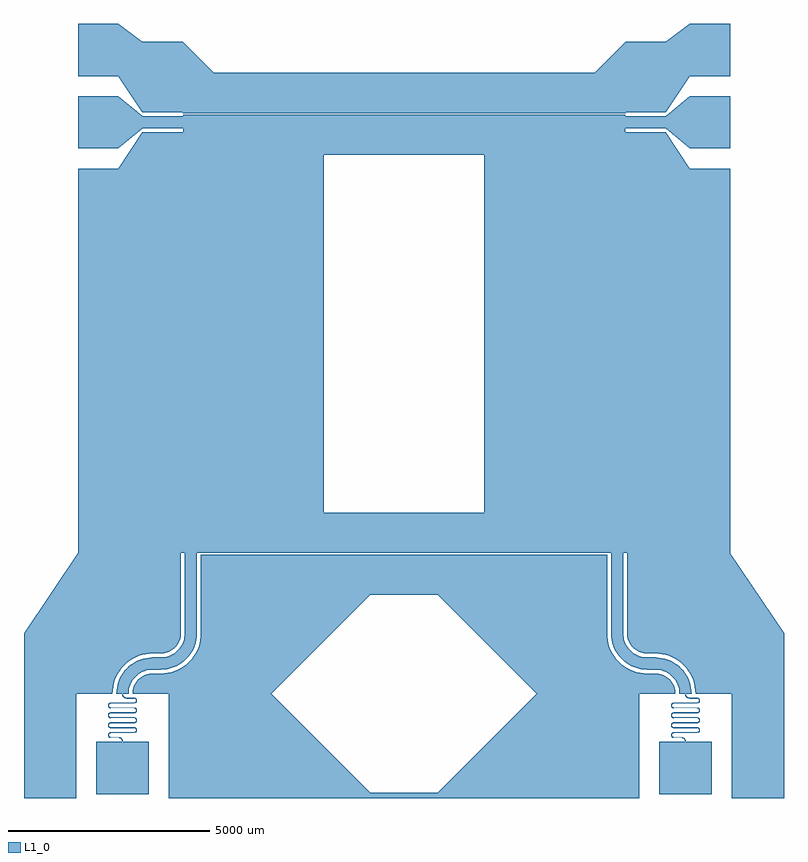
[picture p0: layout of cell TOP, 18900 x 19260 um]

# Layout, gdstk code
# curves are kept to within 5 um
import gdstk
lib = gdstk.Library(unit=1e-6, precision=1e-08)
def R(c, l, rs):  # rectangles x0, y0, x1, y1
    for r in rs: c.add(gdstk.rectangle(r[:2], r[2:], *l))
def A(c, l, x, y, w, h, nx, ny, dx, dy):  # array of equal rectangles
    R(c, l, [(x+i*dx, y+j*dy, x+i*dx+w, y+j*dy+h) for i in range(nx) for j in range(ny)])
def P(c, l, *ps):  # polygons
    for p in ps: c.add(gdstk.Polygon(p, *l))
L1_0 = (1, 0)

top = lib.new_cell('TOP')
A(top, L1_0, -2805, 10260, 1000, 1300, 1, 3, 0, 1800)
A(top, L1_0, 12410, 10260, 1000, 1300, 1, 3, 0, 1800)
R(top, L1_0, [(-4150,-4100,-2850,-1500), (-550,-4100,750,-1500), (9850,-4100,11150,-1500), (13450,-4100,14750,-1500), (-2350,-4000,-1050,-2700), (11650,-4000,12950,-2700), (-2000,0,-250,2000), (-150,0,150,2000), (250,0,2000,1960), (8600,0,10350,1960), (10450,0,10750,2000), (10850,0,12600,2000), (250,960,10350,1960), (-2805,2000,-205,11560), (-195,2000,3305,12900), (0,2000,10600,3000), (7300,2000,10800,12900), (10810,2000,13410,11560), (-1205,10710,-205,12460), (10810,10710,11810,12460), (0,11900,10600,12900), (-1200,12560,-195,12860), (10800,12560,11805,12860), (-205,12940,10810,13940), (-1205,12960,-205,14710), (10810,12960,11810,14710)])
P(top, L1_0, [(10040,13940),(10810,14710),(10810,13940)],
  [(-205,13940),(-205,14710),(565,13940)],
  [(12600,-0.02),(12600,1999.98),(13405,1999.98),(14750,-0.02)],
  [(-4150,0),(-2805,2000),(-2000,2000),(-2000,0)],
  [(750,-4100),(750,-1500),(1995,-1500),(2000,-3960),(8600,-3960),(8600,-1500),(9850,-1500),(9850,-4100)],
  [(6140,-3960),(8600,-1500),(8600,-3960)],
  [(8600,-1500),(6140,960),(8600,960)],
  [(2000,-3960),(2000,-1500),(4460,-3960)],
  [(2000,-1500),(2000,960),(4460,960)],
  [(-4150,-1500),(-4150,0),(-250,0),(-267.04,-129.41),(-316.99,-250),(-396.45,-353.55),(-500,-433.01),(-578.99,-469.85),(-663.18,-492.4),(-1037.16,-503.8),(-1208.82,-534.07),(-1372.62,-593.69),(-1450,-633.97),(-1592.79,-733.96),(-1657.11,-792.89),(-1769.15,-926.42),(-1856.31,-1077.38),(-1915.93,-1241.18),(-1934.81,-1326.35),(-1950,-1500)],
  [(12550,-1500),(12546.2,-1412.84),(12515.93,-1241.18),(12456.31,-1077.38),(12369.15,-926.42),(12257.11,-792.89),(12192.79,-733.96),(12050,-633.97),(11972.62,-593.69),(11808.82,-534.07),(11637.16,-503.8),(11263.18,-492.4),(11178.99,-469.85),(11100,-433.01),(10996.45,-353.55),(10916.99,-250),(10867.04,-129.41),(10850,0),(14750,0),(14750,-1500)],
  [(8600,-1500),(8600,0),(10350,0),(10365.19,-173.65),(10384.07,-258.82),(10443.69,-422.62),(10530.85,-573.58),(10642.89,-707.11),(10707.21,-766.04),(10776.42,-819.15),(10927.38,-906.31),(11091.18,-965.93),(11262.84,-996.19),(11636.82,-1007.6),(11721.01,-1030.15),(11800,-1066.99),(11903.55,-1146.45),(11983.01,-1250),(12032.96,-1370.59),(12050,-1500)],
  [(12150,-1500),(12129.56,-1344.71),(12069.62,-1200),(11974.26,-1075.74),(11850,-980.38),(11755.21,-936.18),(11654.19,-909.11),(11550,-900),(11271.56,-896.57),(11117.06,-869.33),(10969.64,-815.68),(10833.78,-737.24),(10771.49,-689.44),(10713.6,-636.4),(10612.76,-516.22),(10534.32,-380.36),(10480.67,-232.94),(10463.67,-156.28),(10450,0),(10750,0),(10759.12,-104.19),(10786.18,-205.21),(10858.51,-344.15),(10964.33,-459.63),(11096.43,-543.78),(11194.71,-579.55),(11297.71,-597.72),(11628.44,-603.42),(11782.94,-630.67),(11930.36,-684.32),(12066.22,-762.76),(12128.51,-810.56),(12186.4,-863.6),(12287.24,-983.78),(12365.68,-1119.64),(12419.33,-1267.06),(12436.33,-1343.72),(12450,-1500)],
  [(12290,-2700),(12288.63,-2674.37),(12277.94,-2645),(12257.85,-2621.06),(12230.78,-2605.43),(12200,-2600),(12005.51,-2599.73),(11987.35,-2595.7),(11970.85,-2587.11),(11950.01,-2564.37),(11940.74,-2534.96),(11944.76,-2504.38),(11961.33,-2478.37),(11981.6,-2464.18),(12011.72,-2457.5),(12597.18,-2456.72),(12621.23,-2445.51),(12634.73,-2427.91),(12639.34,-2401.78),(12630.27,-2376.85),(12609.94,-2359.8),(12588.29,-2355),(11999.34,-2353.92),(11981.6,-2348.32),(11965.92,-2338.33),(11947.14,-2313.86),(11941.55,-2296.12),(11940.74,-2277.54),(11950.01,-2248.12),(11970.85,-2225.38),(11987.35,-2216.8),(12005.51,-2212.77),(12597.18,-2211.72),(12617.68,-2203.23),(12632.67,-2186.87),(12639.54,-2161.25),(12634.73,-2139.59),(12617.68,-2119.27),(12592.75,-2110.19),(11999.34,-2108.92),(11981.6,-2103.32),(11965.92,-2093.33),(11947.14,-2068.86),(11940.47,-2038.75),(11947.14,-2008.64),(11957.13,-1992.95),(11970.85,-1980.38),(11987.35,-1971.8),(12005.51,-1967.77),(12597.18,-1966.72),(12617.68,-1958.23),(12632.67,-1941.87),(12639.34,-1920.72),(12636.44,-1898.72),(12621.23,-1876.99),(12609.94,-1869.8),(12592.75,-1865.19),(11999.34,-1863.92),(11976.09,-1855.45),(11957.13,-1839.55),(11944.76,-1818.12),(11940.47,-1793.75),(11944.76,-1769.38),(11957.13,-1747.95),(11981.6,-1729.18),(12005.51,-1722.77),(12588.29,-1722.5),(12605.81,-1719.41),(12621.23,-1710.51),(12636.44,-1688.78),(12638.76,-1662.35),(12627.55,-1638.31),(12605.81,-1623.09),(12588.29,-1620),(12390.41,-1619.58),(12362.38,-1613.37),(12336.91,-1600.11),(12309.89,-1573.09),(12293.75,-1538.47),(12290,-1500),(12310,-1500),(12311.37,-1525.63),(12322.06,-1555),(12342.15,-1578.94),(12369.22,-1594.57),(12400,-1600),(12594.5,-1600.27),(12612.65,-1604.3),(12629.15,-1612.88),(12649.99,-1635.62),(12659.26,-1665.04),(12655.24,-1695.62),(12638.67,-1721.63),(12618.4,-1735.82),(12588.29,-1742.5),(12002.82,-1743.28),(11978.77,-1754.49),(11965.27,-1772.09),(11960.66,-1798.22),(11969.73,-1823.15),(11990.06,-1840.2),(12011.72,-1845),(12600.66,-1846.08),(12629.15,-1857.88),(12642.87,-1870.45),(12652.86,-1886.14),(12659.54,-1916.25),(12657.11,-1934.69),(12649.99,-1951.87),(12638.67,-1966.63),(12623.91,-1977.95),(12594.5,-1987.23),(12002.82,-1988.28),(11982.32,-1996.77),(11967.33,-2013.12),(11960.66,-2034.28),(11965.27,-2060.41),(11982.32,-2080.73),(12007.25,-2089.8),(12600.66,-2091.08),(12629.15,-2102.88),(12649.99,-2125.62),(12657.11,-2142.81),(12659.54,-2161.25),(12652.86,-2191.36),(12642.87,-2207.05),(12629.15,-2219.61),(12612.65,-2228.2),(12594.5,-2232.23),(12002.82,-2233.28),(11982.32,-2241.77),(11967.33,-2258.12),(11960.66,-2279.28),(11963.56,-2301.28),(11978.77,-2323.01),(11994.19,-2331.91),(12007.25,-2334.8),(12600.66,-2336.08),(12623.91,-2344.55),(12642.87,-2360.45),(12655.24,-2381.88),(12659.54,-2406.25),(12655.24,-2430.62),(12642.87,-2452.05),(12618.4,-2470.82),(12594.5,-2477.23),(12011.72,-2477.5),(11994.19,-2480.59),(11978.77,-2489.49),(11963.56,-2511.22),(11961.24,-2537.65),(11972.46,-2561.69),(11994.19,-2576.91),(12011.72,-2580),(12209.59,-2580.42),(12237.62,-2586.63),(12263.09,-2599.89),(12290.11,-2626.91),(12306.25,-2661.53),(12310,-2700)],
  [(-1450,-1500),(-1432.96,-1370.59),(-1383.01,-1250),(-1303.55,-1146.45),(-1200,-1066.99),(-1121.01,-1030.15),(-1036.82,-1007.6),(-662.84,-996.19),(-491.18,-965.93),(-327.38,-906.31),(-176.42,-819.15),(-107.21,-766.04),(-42.89,-707.11),(69.15,-573.58),(156.31,-422.62),(215.93,-258.82),(246.2,-87.16),(250,0),(2000,0),(2000,-1500)],
  [(-1850,-1500),(-1836.33,-1343.72),(-1819.33,-1267.06),(-1765.68,-1119.64),(-1687.24,-983.78),(-1639.44,-921.49),(-1586.4,-863.6),(-1466.22,-762.76),(-1330.36,-684.32),(-1182.94,-630.67),(-1028.44,-603.42),(-697.71,-597.72),(-594.71,-579.55),(-496.43,-543.78),(-364.33,-459.63),(-290.37,-385.67),(-230.38,-300),(-170.44,-155.29),(-150,0),(150,0),(136.33,-156.28),(119.33,-232.94),(65.68,-380.36),(-12.76,-516.22),(-60.56,-578.51),(-113.6,-636.4),(-233.78,-737.24),(-369.64,-815.68),(-517.06,-869.33),(-671.56,-896.57),(-1002.29,-902.28),(-1105.29,-920.44),(-1203.57,-956.21),(-1335.67,-1040.37),(-1441.49,-1155.85),(-1513.82,-1294.79),(-1540.88,-1395.81),(-1550,-1500)],
  [(-1710,-2700),(-1711.37,-2674.37),(-1722.06,-2645),(-1742.15,-2621.06),(-1769.22,-2605.43),(-1800,-2600),(-1994.49,-2599.73),(-2012.65,-2595.7),(-2029.15,-2587.11),(-2049.99,-2564.37),(-2059.26,-2534.96),(-2055.24,-2504.38),(-2038.67,-2478.37),(-2018.4,-2464.18),(-1988.28,-2457.5),(-1402.82,-2456.72),(-1378.77,-2445.51),(-1365.27,-2427.91),(-1360.66,-2401.78),(-1369.73,-2376.85),(-1390.06,-2359.8),(-1411.71,-2355),(-2000.66,-2353.92),(-2018.4,-2348.32),(-2034.08,-2338.33),(-2052.86,-2313.86),(-2058.45,-2296.12),(-2059.26,-2277.54),(-2049.99,-2248.12),(-2029.15,-2225.38),(-2012.65,-2216.8),(-1994.49,-2212.77),(-1402.82,-2211.72),(-1382.32,-2203.23),(-1367.33,-2186.87),(-1360.46,-2161.25),(-1365.27,-2139.59),(-1382.32,-2119.27),(-1407.25,-2110.19),(-2000.66,-2108.92),(-2018.4,-2103.32),(-2034.08,-2093.33),(-2052.86,-2068.86),(-2059.53,-2038.75),(-2052.86,-2008.64),(-2042.87,-1992.95),(-2029.15,-1980.38),(-2012.65,-1971.8),(-1994.49,-1967.77),(-1402.82,-1966.72),(-1382.32,-1958.23),(-1367.33,-1941.87),(-1360.66,-1920.72),(-1363.56,-1898.72),(-1378.77,-1876.99),(-1390.06,-1869.8),(-1407.25,-1865.19),(-2000.66,-1863.92),(-2023.91,-1855.45),(-2042.87,-1839.55),(-2055.24,-1818.12),(-2059.53,-1793.75),(-2055.24,-1769.38),(-2042.87,-1747.95),(-2018.4,-1729.18),(-1994.49,-1722.77),(-1411.71,-1722.5),(-1394.19,-1719.41),(-1378.77,-1710.51),(-1363.56,-1688.78),(-1361.24,-1662.35),(-1372.45,-1638.31),(-1394.19,-1623.09),(-1411.71,-1620),(-1609.59,-1619.58),(-1637.62,-1613.37),(-1663.09,-1600.11),(-1690.11,-1573.09),(-1706.25,-1538.47),(-1710,-1500),(-1690,-1500),(-1688.63,-1525.63),(-1677.94,-1555),(-1657.85,-1578.94),(-1630.78,-1594.57),(-1600,-1600),(-1405.5,-1600.27),(-1387.35,-1604.3),(-1370.85,-1612.88),(-1350.01,-1635.62),(-1340.74,-1665.04),(-1344.76,-1695.62),(-1361.33,-1721.63),(-1381.6,-1735.82),(-1411.71,-1742.5),(-1997.18,-1743.28),(-2021.23,-1754.49),(-2034.73,-1772.09),(-2039.34,-1798.22),(-2030.27,-1823.15),(-2009.94,-1840.2),(-1988.28,-1845),(-1399.34,-1846.08),(-1370.85,-1857.88),(-1357.13,-1870.45),(-1347.14,-1886.14),(-1340.46,-1916.25),(-1342.89,-1934.69),(-1350.01,-1951.87),(-1361.33,-1966.63),(-1376.09,-1977.95),(-1405.5,-1987.23),(-1997.18,-1988.28),(-2017.68,-1996.77),(-2032.67,-2013.12),(-2039.34,-2034.28),(-2034.73,-2060.41),(-2017.68,-2080.73),(-1992.75,-2089.8),(-1399.34,-2091.08),(-1370.85,-2102.88),(-1350.01,-2125.62),(-1342.89,-2142.81),(-1340.46,-2161.25),(-1347.14,-2191.36),(-1357.13,-2207.05),(-1370.85,-2219.61),(-1387.35,-2228.2),(-1405.5,-2232.23),(-1997.18,-2233.28),(-2017.68,-2241.77),(-2032.67,-2258.12),(-2039.34,-2279.28),(-2036.44,-2301.28),(-2021.23,-2323.01),(-2005.81,-2331.91),(-1992.75,-2334.8),(-1399.34,-2336.08),(-1376.09,-2344.55),(-1357.13,-2360.45),(-1344.76,-2381.88),(-1340.46,-2406.25),(-1344.76,-2430.62),(-1357.13,-2452.05),(-1381.6,-2470.82),(-1405.5,-2477.23),(-1988.28,-2477.5),(-2005.81,-2480.59),(-2021.23,-2489.49),(-2036.44,-2511.22),(-2038.76,-2537.65),(-2027.54,-2561.69),(-2005.81,-2576.91),(-1988.28,-2580),(-1790.41,-2580.42),(-1762.38,-2586.63),(-1736.91,-2599.89),(-1709.89,-2626.91),(-1693.75,-2661.53),(-1690,-2700)],
  [(11810,12960),(11810,14710),(12410,15160),(12410,13860)],
  [(12410,10260),(11810,10710),(11810,12460),(12410,11560)],
  [(12410,12060),(11805,12560),(11805,12860),(12410,13360)],
  [(-1805,12060),(-1805,13360),(-1200,12860),(-1200,12560)],
  [(-1205,12960),(-1805,13860),(-1805,15160),(-1205,14710)],
  [(-1805,10260),(-1805,11560),(-1205,12460),(-1205,10710)],
  [(11427.5,-1395),(11379.67,-1385.48),(11339.11,-1358.39),(11312.02,-1317.83),(11302.5,-1270),(11312.02,-1222.16),(11339.11,-1181.61),(11379.67,-1154.51),(11427.5,-1145),(11475.34,-1154.51),(11515.89,-1181.61),(11542.99,-1222.16),(11552.5,-1270),(11542.99,-1317.83),(11515.89,-1358.39),(11475.34,-1385.48)],
  [(-2397.5,-1382.5),(-2445.33,-1372.98),(-2485.89,-1345.89),(-2512.98,-1305.33),(-2522.5,-1257.5),(-2512.98,-1209.66),(-2485.89,-1169.11),(-2445.33,-1142.01),(-2397.5,-1132.5),(-2349.66,-1142.01),(-2309.11,-1169.11),(-2282.01,-1209.66),(-2272.5,-1257.5),(-2282.01,-1305.33),(-2309.11,-1345.89),(-2349.66,-1372.98)],
  [(9757.5,1495),(9709.67,1504.52),(9669.11,1531.61),(9642.02,1572.17),(9632.5,1620),(9642.02,1667.84),(9669.11,1708.39),(9709.67,1735.49),(9757.5,1745),(9805.34,1735.49),(9845.89,1708.39),(9872.99,1667.84),(9882.5,1620),(9872.99,1572.17),(9845.89,1531.61),(9805.34,1504.52)],
  [(-717.5,1472.5),(-765.33,1482.02),(-805.89,1509.11),(-832.98,1549.67),(-842.5,1597.5),(-832.98,1645.34),(-805.89,1685.89),(-765.33,1712.99),(-717.5,1722.5),(-669.66,1712.99),(-629.11,1685.89),(-602.01,1645.34),(-592.5,1597.5),(-602.01,1549.67),(-629.11,1509.11),(-669.66,1482.02)],
  [(11295,11822.5),(11247.17,11832.02),(11206.61,11859.11),(11179.52,11899.67),(11170,11947.5),(11179.52,11995.34),(11206.61,12035.89),(11247.17,12062.99),(11295,12072.5),(11342.84,12062.99),(11383.39,12035.89),(11410.49,11995.34),(11420,11947.5),(11410.49,11899.67),(11383.39,11859.11),(11342.84,11832.02)],
  [(-633.8,11804.03),(-681.64,11813.55),(-722.19,11840.65),(-749.29,11881.2),(-758.8,11929.03),(-749.29,11976.87),(-722.19,12017.42),(-681.64,12044.52),(-633.8,12054.03),(-585.97,12044.52),(-545.42,12017.42),(-518.32,11976.87),(-508.8,11929.03),(-518.32,11881.2),(-545.42,11840.65),(-585.97,11813.55)],
  [(12927.5,-1395),(12879.67,-1385.48),(12839.11,-1358.39),(12812.02,-1317.83),(12802.5,-1270),(12812.02,-1222.16),(12839.11,-1181.61),(12879.67,-1154.51),(12927.5,-1145),(12975.34,-1154.51),(13015.89,-1181.61),(13042.99,-1222.16),(13052.5,-1270),(13042.99,-1317.83),(13015.89,-1358.39),(12975.34,-1385.48)],
  [(-897.5,-1382.5),(-945.33,-1372.98),(-985.89,-1345.89),(-1012.98,-1305.33),(-1022.5,-1257.5),(-1012.98,-1209.66),(-985.89,-1169.11),(-945.33,-1142.01),(-897.5,-1132.5),(-849.66,-1142.01),(-809.11,-1169.11),(-782.01,-1209.66),(-772.5,-1257.5),(-782.01,-1305.33),(-809.11,-1345.89),(-849.66,-1372.98)],
  [(11257.5,1495),(11209.67,1504.52),(11169.11,1531.61),(11142.02,1572.17),(11132.5,1620),(11142.02,1667.84),(11169.11,1708.39),(11209.67,1735.49),(11257.5,1745),(11305.34,1735.49),(11345.89,1708.39),(11372.99,1667.84),(11382.5,1620),(11372.99,1572.17),(11345.89,1531.61),(11305.34,1504.52)],
  [(782.5,1472.5),(734.67,1482.02),(694.11,1509.11),(667.02,1549.67),(657.5,1597.5),(667.02,1645.34),(694.11,1685.89),(734.67,1712.99),(782.5,1722.5),(830.34,1712.99),(870.89,1685.89),(897.99,1645.34),(907.5,1597.5),(897.99,1549.67),(870.89,1509.11),(830.34,1482.02)],
  [(11295,13322.5),(11247.17,13332.02),(11206.61,13359.11),(11179.52,13399.67),(11170,13447.5),(11179.52,13495.34),(11206.61,13535.89),(11247.17,13562.99),(11295,13572.5),(11342.84,13562.99),(11383.39,13535.89),(11410.49,13495.34),(11420,13447.5),(11410.49,13399.67),(11383.39,13359.11),(11342.84,13332.02)],
  [(-633.8,13304.03),(-681.64,13313.55),(-722.19,13340.65),(-749.29,13381.2),(-758.8,13429.03),(-749.29,13476.87),(-722.19,13517.42),(-681.64,13544.52),(-633.8,13554.03),(-585.97,13544.52),(-545.42,13517.42),(-518.32,13476.87),(-508.8,13429.03),(-518.32,13381.2),(-545.42,13340.65),(-585.97,13313.55)])
top.add(gdstk.FlexPath([(13410,12560),(13410,12860)], 0, ends="flush", simple_path=True, layer=1, datatype=0))  # L1_0
top.add(gdstk.FlexPath([(13410,10760),(13410,11060)], 0, ends="flush", simple_path=True, layer=1, datatype=0))  # L1_0
top.add(gdstk.FlexPath([(13410,14360),(13410,14660)], 0, ends="flush", simple_path=True, layer=1, datatype=0))  # L1_0
top.add(gdstk.FlexPath([(-2805,11060),(-2805,10760)], 0, ends="flush", simple_path=True, layer=1, datatype=0))  # L1_0
top.add(gdstk.FlexPath([(-2805,12890),(-2805,12590)], 0, ends="flush", simple_path=True, layer=1, datatype=0))  # L1_0
top.add(gdstk.FlexPath([(-2805,14660),(-2805,14360)], 0, ends="flush", simple_path=True, layer=1, datatype=0))  # L1_0

lib.write_gds('TOP.gds')
